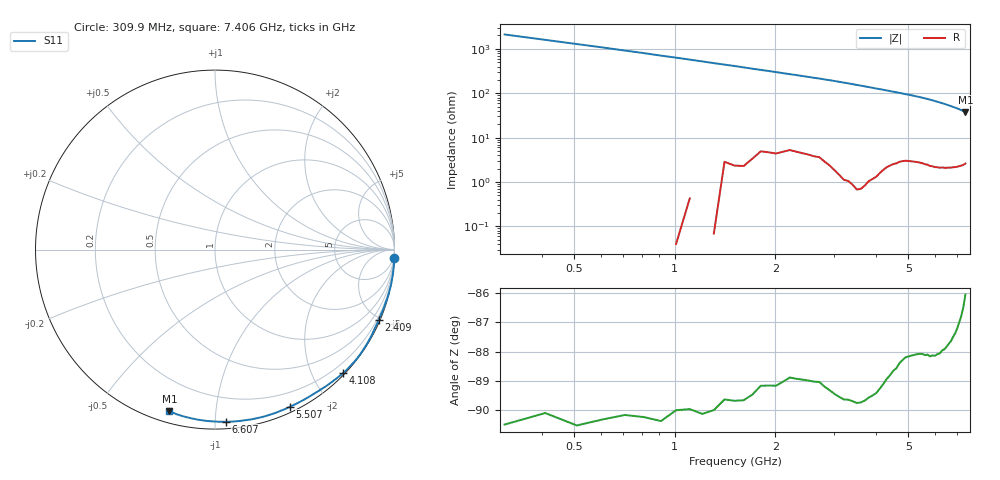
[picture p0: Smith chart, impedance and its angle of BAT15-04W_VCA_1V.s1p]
! Infineon Technologies  Discrete & RF Semiconductors
! BAT15-04W-E6327
! VCA = 1 V
! One-Port S-Parameters
# Hz  S  MA  R  50
!f  S11
!Hz  Mag  Ang
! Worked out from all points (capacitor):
!   72 points, 309.9 MHz to 7.406 GHz, reference 50 ohm
!   read as one part to ground: C = 244 fF near 309.9 MHz
!   lowest |Z| = 37.9 ohm at 7.406 GHz (marker M1)
!   S11 on the Smith chart (normalised r, x): 309.9 MHz: -0, -42; 2.409 GHz: 0.09, -4.88; 4.108 GHz: 0.03, -2.47; 5.507 GHz: 0.05, -1.58; 6.607 GHz: 0.04, -1.06; 7.406 GHz: 0.05, -0.76
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3.0985e8  1 -2.7
9.0955e8  1.001 -8.1
1.2094e9  1 -11.0
1.6092e9  0.9984 -14.9
2.10895e9  0.9942 -20.0
2.4088e9  0.9928 -23.1
2.70865e9  0.9926 -26.2
3.0085e9  0.9952 -29.7
3.2084e9  0.9966 -32.2
3.50825e9  0.9974 -36.0
3.90805e9  0.9942 -41.4
4.10795e9  0.9911 -44.1
4.6077e9  0.9807 -50.9
4.8076e9  0.9761 -53.8
5.2074e9  0.9719 -59.7
5.4073e9  0.9705 -62.9
5.50725e9  0.9701 -64.6
5.6072e9  0.9704 -66.2
5.70715e9  0.9697 -68.0
6.007e9  0.9693 -73.7
6.2069e9  0.9675 -77.8
6.4068e9  0.9646 -82.0
6.6067e9  0.9612 -86.4
6.8066e9  0.9571 -90.9
7.0065e9  0.9524 -95.6
7.2064e9  0.9459 -100.6
7.30635e9  0.9417 -103.2
7.4063e9  0.9358 -105.7
